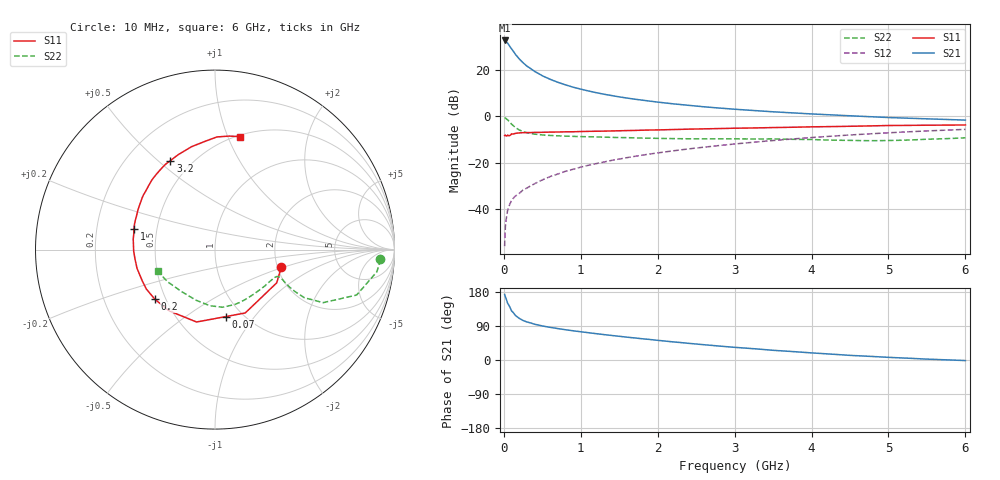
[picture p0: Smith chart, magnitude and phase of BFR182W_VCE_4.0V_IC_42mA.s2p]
! Infineon Technologies  Discrete & RF Semiconductors
! BFR182W
! VCE =  4.0 V,  IC =  42 mA
! Common Emitter S-Parameters:  Jan 2017
# GHz  S  MA  R  50
!  f  S11  S21  S12  S22
! GHz  MAG  ANG  MAG  ANG  MAG  ANG  MAG  ANG
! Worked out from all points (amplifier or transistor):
!   77 points, 10 MHz to 6 GHz, reference 50 ohm
!   highest |S21| = 32.5 dB at 10 MHz (marker M1)
!   |S21| within 3 dB of that: start of sweep to 86.73 MHz
!   unconditionally stable (mu >= 1): 383.7 MHz to 2.348 GHz
!   at 130 MHz: K = 0.61, MSG = 31.3 dB, |S12| = -35.1 dB
!   at 2.2 GHz: K = 1.02, MAG = 9.3 dB, |S12| = -14.9 dB
!   at 6 GHz: K = 0.90, MSG = 2.0 dB, |S12| = -5.7 dB
!   S11 on the Smith chart (normalised r, x): 10 MHz: 2.10, -0.47; 70 MHz: 0.84, -0.73; 200 MHz: 0.44, -0.30; 1 GHz: 0.37, +0.11; 3.2 GHz: 0.38, +0.55; 6 GHz: 0.51, +1.11
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0.01  0.3822 -14.4  42.28 173.1  0.0016 79.8  0.9235 -3.4
0.02  0.3906 -28.3  41.84 166.9  0.0042 83.0  0.9106 -7.8
0.05  0.3912 -64.5  36.97 149.5  0.0095 72.6  0.8284 -17.8
0.07  0.378 -80.9  32.91 142.9  0.0118 67.8  0.7639 -20.7
0.1  0.4162 -104.3  27.92 129.6  0.0154 63.3  0.6717 -26.1
0.14  0.4193 -122.4  22.57 120.5  0.0184 61.9  0.5871 -27.8
0.15  0.4265 -126.8  21.35 117.6  0.0191 61.6  0.566 -28.3
0.2  0.4345 -140.5  16.97 109.9  0.0218 62.1  0.504 -27.7
0.25  0.4412 -150.1  14.03 104.3  0.0258 62.8  0.4654 -26.7
0.3  0.4411 -156.6  11.86 100.4  0.0284 65.5  0.4389 -25.6
0.4  0.4467 -166.4  9.13 94.3  0.0352 69.0  0.4102 -23.9
0.5  0.4487 -173.2  7.372 89.9  0.0425 70.9  0.3936 -23.3
0.7  0.455 176.9  5.343 83.0  0.0567 73.7  0.377 -23.4
1  0.4659 165.8  3.799 74.5  0.08 74.4  0.3624 -26.1
1.1  0.4701 162.6  3.468 72.0  0.0877 74.7  0.3601 -27.4
1.5  0.4838 152.1  2.592 62.6  0.1194 73.9  0.3459 -33.8
2.1  0.5091 137.9  1.917 49.9  0.1703 70.8  0.3301 -47.0
3.1  0.5517 118.4  1.37 32.0  0.2607 62.8  0.3236 -72.6
3.2  0.5547 116.6  1.335 30.5  0.27 61.9  0.3228 -75.1
4.1  0.5905 101.4  1.093 17.5  0.3553 52.9  0.3097 -98.2
5.1  0.6291 87.7  0.92 6.1  0.446 41.6  0.3008 -132.2
6  0.6451 77.4  0.821 -1.5  0.5191 31.1  0.3411 -159.2
